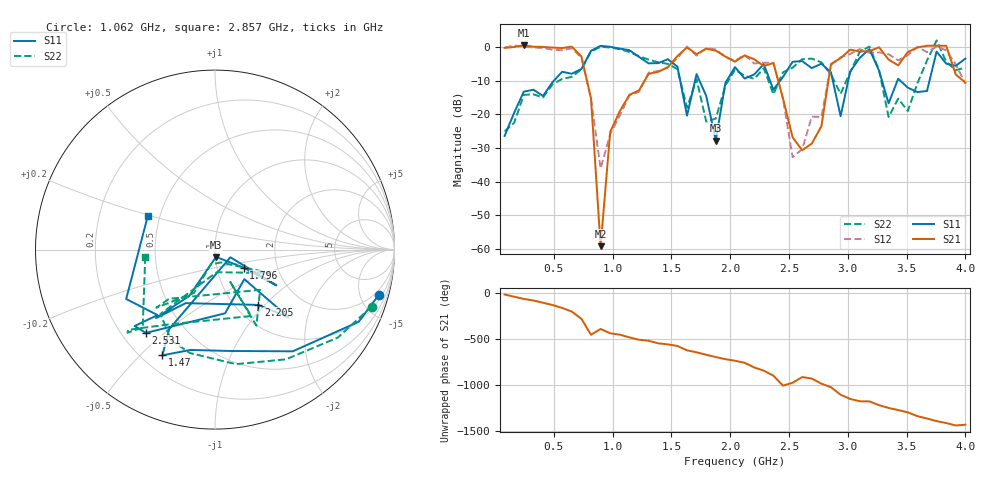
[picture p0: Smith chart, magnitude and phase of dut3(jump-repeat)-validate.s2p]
!Created with skrf (http://scikit-rf.org).
# GHz S DB R 50.0
!freq dBS11 angS11 dBS21 angS21 dBS12 angS12 dBS22 angS22
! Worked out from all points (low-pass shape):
!   49 points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, 82.61 MHz to 4 GHz, reference 50 ohm
!   highest |S21| = 0.50 dB at 245.8 MHz (marker M1); lowest = -59.1 dB at 898.7 MHz (marker M2)
!   |S21| within 3 dB of the highest: start of sweep to 726.5 MHz; 3.49 GHz to 3.864 GHz (374.4 MHz wide, 10.2 % of centre)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
!   lowest |S11| = -27.8 dB at 1.878 GHz (marker M3), VSWR 1.09, Z = 50.4 - j4.1 ohm
!   |S11| at or under -10 dB: start of sweep to 501.5 MHz; 1.74 GHz to 1.971 GHz (231.2 MHz wide, 12.5 % of centre); 3.446 GHz to 3.695 GHz (248.7 MHz wide, 6.96 % of centre)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
!   |S22| runs from -25.0 to 1.9 dB; largest |S21 - S12| = 0.27
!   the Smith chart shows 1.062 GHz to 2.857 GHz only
!   S11 on the Smith chart (normalised r, x): 1.062 GHz: 1.45, -7.10; 1.47 GHz: 0.28, -0.58; 1.796 GHz: 1.35, -0.28; 2.205 GHz: 1.26, -0.92; 2.531 GHz: 0.30, -0.44; 2.857 GHz: 0.43, +0.20
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0.08261224  -26.39 -110.2  -0.27 -21.1  -0.17 -21.4  -25.04 -81.1
0.2458367  -13.26 -153.2  0.50 -68.8  0.11 -65.4  -14.21 -152.2
0.5722857  -7.35 100.9  -0.32 -167.0  -0.97 -166.7  -9.48 98.1
0.7355102  -6.52 149.9  -2.82 75.2  -3.11 67.7  -6.64 154.7
0.8171224  -1.15 90.1  -15.24 -97.8  -15.42 -104.5  -1.35 101.4
0.8987347  0.35 25.2  -59.11 -35.0  -36.06 -107.5  0.06 32.7
0.9803469  0.06 -2.4  -25.19 -82.1  -25.84 -111.5  -0.17 -0.8
1.061959  -0.47 -15.4  -19.06 -96.8  -20.34 -108.7  -0.64 -20.0
1.388408  -4.80 -103.8  -7.38 169.0  -7.11 176.3  -4.54 -103.6
1.47002  -3.64 -116.5  -6.00 157.9  -6.13 158.4  -5.02 -115.8
1.796469  -14.49 -32.2  -0.51 45.2  -0.35 49.8  -22.13 -66.3
1.878082  -27.75 -82.4  -1.09 19.8  -0.73 20.4  -21.23 -106.0
2.041306  -5.96 -130.7  -4.35 -20.2  -4.10 -18.6  -6.76 -135.2
2.204531  -8.16 -52.0  -3.65 -92.9  -4.91 -93.9  -9.46 -41.7
2.367755  -12.70 -45.2  -4.76 177.6  -4.66 176.8  -14.02 -64.7
2.53098  -4.39 -129.7  -26.81 101.2  -32.71 -1.7  -6.14 -122.2
2.775816  -4.94 -150.9  -23.52 90.7  -20.75 95.2  -4.55 -132.9
2.857429  -7.55 153.1  -5.04 52.6  -5.33 54.6  -8.16 -173.8
3.020653  -7.28 131.6  -0.79 -74.8  -2.07 -58.9  -7.50 148.8
3.428714  -9.43 -132.1  -5.45 164.2  -3.95 170.8  -15.33 -125.2
3.755163  -1.36 122.0  0.39 44.0  0.09 51.3  1.94 94.9
4  -3.45 -166.6  -10.56 4.8  -10.89 5.3  -6.12 -159.2
